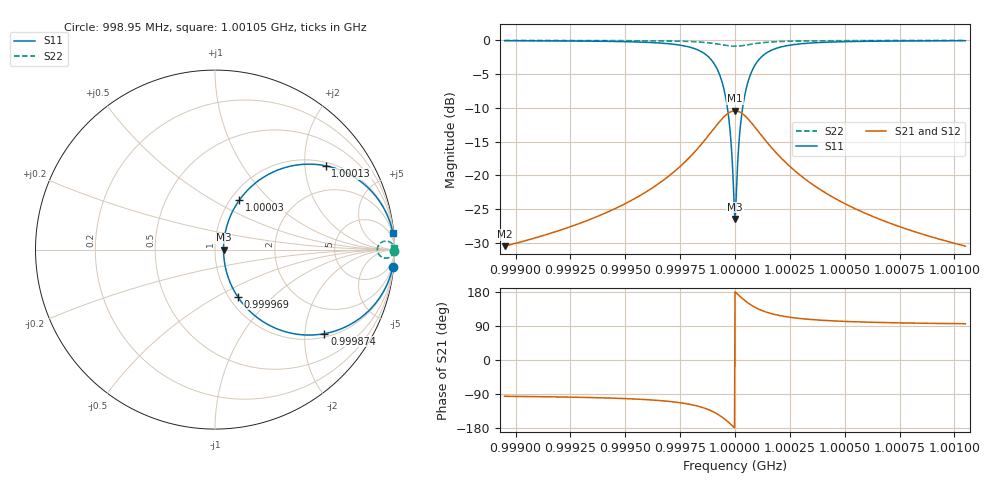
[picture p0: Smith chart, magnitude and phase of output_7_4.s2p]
! File generated for n1 = 7, n2 = 4
! b1 = 1.000000
! b2 = 0.100000
! Q0 = 10000.000000
! f0 = 1000000000.000000
! n = 1001
! rel_span = 10.000000
# Hz S RI R 50
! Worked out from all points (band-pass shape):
!   1001 points, 998.95 MHz to 1.00105 GHz, reference 50 ohm
!   highest |S21| = -10.42 dB at 1 GHz (marker M1); lowest = -30.5 dB at 998.95 MHz (marker M2)
!   |S21| within 3 dB of the highest: 999.8953 MHz to 1.000105 GHz (209.5 kHz wide, 0.021 % of centre)
!   lowest |S11| = -26.4 dB at 1 GHz (marker M3), VSWR 1.10, Z = 55 + j0 ohm
!   |S11| at or under -10 dB: 999.9654 MHz to 1.000035 GHz (69.24 kHz wide, 0.00692 % of centre)
!   |S22| runs from -0.9 to 0.0 dB; largest |S21 - S12| = 0
!   S11 on the Smith chart (normalised r, x): 998.95 MHz: 1, -21; 999.874 MHz: 1.10, -2.52; 999.968 MHz: 1.10, -0.63; 1.00003 GHz: 1.10, +0.67; 1.00013 GHz: 1.10, +2.56; 1.00105 GHz: 1, +21
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9.9895e8  0.9906 -0.0942  -0.00298 -0.0298  -0.00298 -0.0298  0.9991 -0.00942
9.993007e8  0.979 -0.1398  -0.00664 -0.0442  -0.00664 -0.0442  0.9979 -0.014
9.996514e8  0.9208 -0.263  -0.025 -0.0832  -0.025 -0.0832  0.9921 -0.0263
9.997858e8  0.8155 -0.3764  -0.0583 -0.119  -0.0583 -0.119  0.9816 -0.0376
9.998341e8  0.7276 -0.4304  -0.0861 -0.1361  -0.0861 -0.1361  0.9728 -0.043
9.99874e8  0.6097 -0.4684  -0.1234 -0.1481  -0.1234 -0.1481  0.961 -0.0468
9.999328e8  0.3244 -0.4324  -0.2137 -0.1367  -0.2137 -0.1367  0.9324 -0.0432
9.999538e8  0.2021 -0.3511  -0.2523 -0.111  -0.2523 -0.111  0.9202 -0.0351
9.999685e8  0.1263 -0.2621  -0.2763 -0.0829  -0.2763 -0.0829  0.9126 -0.0262
9.99979e8  0.0842 -0.1832  -0.2896 -0.0579  -0.2896 -0.0579  0.9084 -0.0183
9.999937e8  0.051 -0.0569  -0.3001 -0.018  -0.3001 -0.018  0.9051 -0.00569
1e9  0.0476 0  -0.3012 0  -0.3012 0  0.9048 0
1.000006e9  0.051 0.0569  -0.3001 0.018  -0.3001 0.018  0.9051 0.00569
1.000021e9  0.0842 0.1831  -0.2896 0.0579  -0.2896 0.0579  0.9084 0.0183
1.000034e9  0.1361 0.2764  -0.2732 0.0874  -0.2732 0.0874  0.9136 0.0276
1.00005e9  0.226 0.3715  -0.2448 0.1175  -0.2448 0.1175  0.9226 0.0372
1.000069e9  0.3366 0.4378  -0.2098 0.1385  -0.2098 0.1385  0.9337 0.0438
1.000128e9  0.6172 0.4669  -0.121 0.1477  -0.121 0.1477  0.9617 0.0467
1.000216e9  0.8183 0.3742  -0.0574 0.1183  -0.0574 0.1183  0.9818 0.0374
1.000351e9  0.9216 0.2617  -0.0248 0.0828  -0.0248 0.0828  0.9922 0.0262
1.000701e9  0.9791 0.1395  -0.00661 0.0441  -0.00661 0.0441  0.9979 0.0139
1.00105e9  0.9906 0.0943  -0.00298 0.0298  -0.00298 0.0298  0.9991 0.00943
